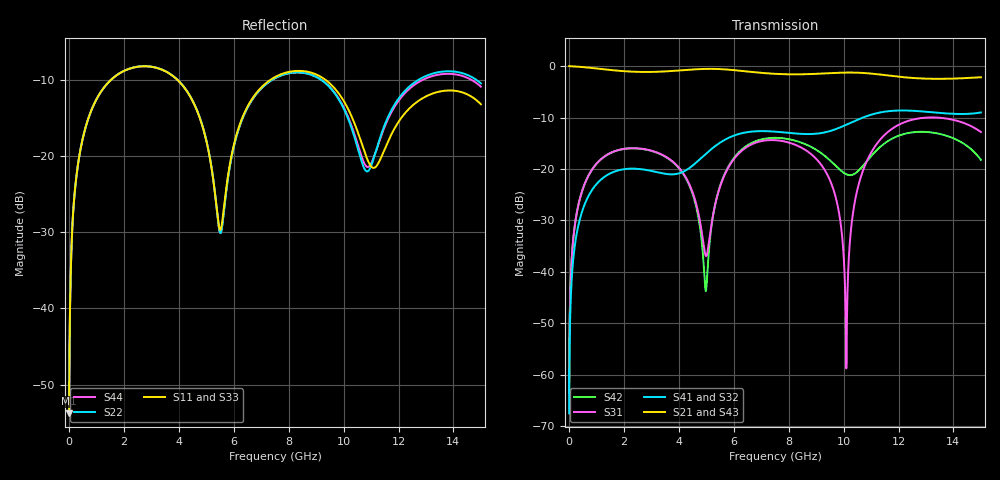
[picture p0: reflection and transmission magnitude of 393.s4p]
! Created with skrf 1.8.0 (http://scikit-rf.org).
# GHz S RI R 50.0
!freq ReS11 ImS11 ReS12 ImS12 ReS13 ImS13
! ReS14 ImS14
! ReS21 ImS21 ReS22 ImS22 ReS23 ImS23
! ReS24 ImS24
! ReS31 ImS31 ReS32 ImS32 ReS33 ImS33
! ReS34 ImS34
! ReS41 ImS41 ReS42 ImS42 ReS43 ImS43
! ReS44 ImS44
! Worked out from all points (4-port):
!   2499 points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, 5 MHz to 15 GHz, reference 50 ohm
!   strongest paths, dB at 5 MHz, 3.476 GHz, 7.19 GHz, 11.1 GHz, 15 GHz:
!     S21: 0.0, -1.0, -1.4, -1.5, -2.2
!     S43: 0.0, -1.0, -1.4, -1.5, -2.1
!     S41: -67.5, -20.9, -12.7, -9.3, -9.0
!     S32: -67.5, -21.0, -12.7, -9.3, -9.2
!     S31: -63.5, -17.5, -14.4, -16.0, -12.8
!     S42: -63.5, -17.5, -14.1, -16.9, -18.2
!   lowest |S11| = -53.8 dB at 5 MHz (marker M1), VSWR 1.00, Z = 50.2 + j0.124 ohm
!   |S11| at or under -10 dB: start of sweep to 1.507 GHz; 3.971 GHz to 7.304 GHz (3.333 GHz wide, 59.1 % of centre); 9.37 GHz to end of sweep
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0.005  0.00163 0.00124  0.9983 -0.00317  8.24e-05 0.000664  -8e-05 -0.000414
       0.9983 -0.00317  0.00163 0.00124  -7.99e-05 -0.000414  8.24e-05 0.000664
       8.24e-05 0.000664  -7.99e-05 -0.000414  0.00163 0.00124  0.9983 -0.00317
       -8e-05 -0.000414  8.24e-05 0.000664  0.9983 -0.00317  0.00163 0.00124
1.519383  0.2611 0.181  0.5675 -0.7185  0.1279 0.065  -0.0906 -0.00914
          0.5675 -0.7185  0.2616 0.1807  -0.0904 -0.00936  0.1271 0.066
          0.1279 0.065  -0.0904 -0.00936  0.2613 0.1809  0.5675 -0.7185
          -0.0906 -0.00914  0.1271 0.066  0.5675 -0.7185  0.2615 0.1808
5.558566  0.0339 0.00909  -0.9327 -0.0323  0.00305 0.0742  0.00133 0.1842
          -0.9327 -0.0323  0.0322 0.00729  -0.00262 0.1841  0.0129 0.0746
          0.00305 0.0742  -0.00262 0.1841  0.0338 0.00999  -0.9327 -0.0322
          0.00133 0.1842  0.0129 0.0746  -0.9327 -0.0322  0.0322 0.00764
8.947478  0.3355 -0.0975  0.1777 0.8207  0.1063 -0.0745  0.1953 -0.1002
          0.1777 0.8207  0.3239 -0.0941  0.1971 -0.0907  0.0927 -0.1264
          0.1063 -0.0745  0.1971 -0.0907  0.3378 -0.1014  0.1769 0.8202
          0.1953 -0.1002  0.0927 -0.1264  0.1769 0.8202  0.3254 -0.0901
10.09796  0.1589 -0.1472  0.6575 0.5626  0.00115 -5.04e-05  0.1642 -0.213
          0.6575 0.5626  0.1425 -0.1251  0.1739 -0.2048  -0.0684 -0.0568
          0.00115 -5.04e-05  0.1739 -0.2048  0.1586 -0.1518  0.6559 0.5634
          0.1642 -0.213  -0.0684 -0.0568  0.6559 0.5634  0.1485 -0.1243
11.26094  0.0894 0.0104  0.8316 0.012  0.0927 0.1576  -0.0197 -0.3505
          0.8316 0.012  0.1031 0.0644  -0.00493 -0.3506  -0.0318 0.1541
          0.0927 0.1576  -0.00493 -0.3506  0.0885 0.00778  0.8319 0.0146
          -0.0197 -0.3505  -0.0318 0.1541  0.8319 0.0146  0.1058 0.0567
15  0.2055 -0.0793  -0.2816 -0.7258  0.0815 -0.2136  -0.3008 0.1866
    -0.2816 -0.7258  0.2422 -0.181  -0.3093 0.1602  0.1094 -0.0553
    0.0815 -0.2136  -0.3093 0.1602  0.1957 -0.0923  -0.2829 -0.7285
    -0.3008 0.1866  0.1094 -0.0553  -0.2829 -0.7285  0.2344 -0.1668
